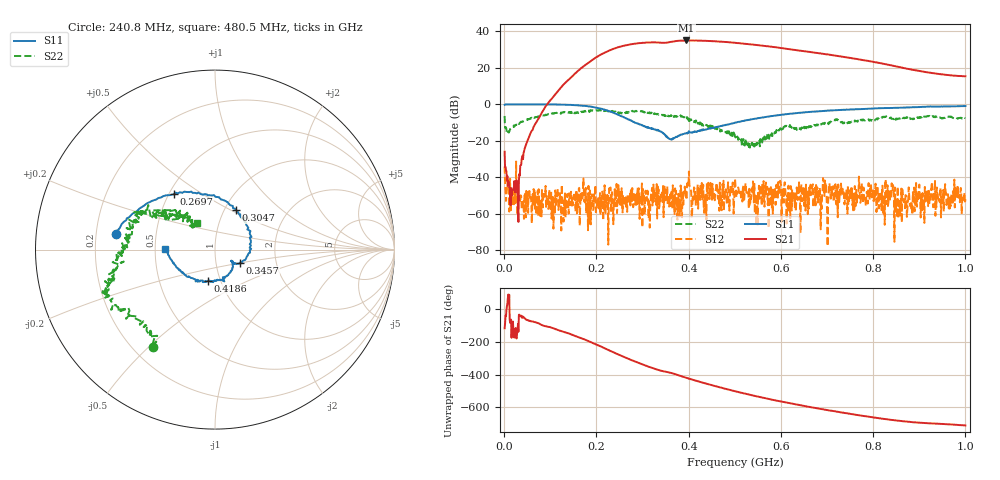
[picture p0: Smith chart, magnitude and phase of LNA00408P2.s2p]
! Created with skrf 1.9.0 (http://scikit-rf.org).
# Hz S RI R 50.0
!freq ReS11 ImS11 ReS21 ImS21 ReS12 ImS12 ReS22 ImS22
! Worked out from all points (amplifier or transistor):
!   1001 points, 1 MHz to 1 GHz, reference 50 ohm
!   highest |S21| = 35.0 dB at 394.6 MHz (marker M1)
!   |S21| within 3 dB of that: 257.5 MHz to 565.4 MHz (308 MHz wide, 74.8 % of centre)
!   unconditionally stable (mu >= 1): 298.7 MHz to 400.2 MHz; 401 MHz to 769.2 MHz; 769.3 MHz to end of sweep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
!   at 166.8 MHz: K = 1.65, MAG = 31.3 dB, |S12| = -52.3 dB
!   at 500.5 MHz: K = 1.15, MAG = 34.8 dB, |S12| = -40.6 dB
!   at 1 GHz: K = 5.60, MAG = 23.2 dB, |S12| = -51.9 dB
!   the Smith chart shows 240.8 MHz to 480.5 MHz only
!   S11 on the Smith chart (normalised r, x): 240.8 MHz: 0.28, +0.07; 269.7 MHz: 0.53, +0.38; 304.7 MHz: 1.13, +0.53; 345.7 MHz: 1.31, -0.19; 418.6 MHz: 0.87, -0.32; 480.5 MHz: 0.57, +0.01
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1000000  0.9743 0.00152  -0.0221 -0.0455  -0.0187 0.00683  0.3489 0.3338
1.08892e8  0.5333 -0.8401  -0.8145 -1.561  -0.000527 -0.00182  0.4198 -0.3788
1.67833e8  -0.2138 -0.9006  -10.04 -0.5245  0.00137 -0.00343  0.0275 -0.6324
2.08792e8  -0.6459 -0.4198  -15.7 16.52  -0.000726 0.00058  -0.2369 -0.6486
2.4076e8  -0.5542 0.0879  -1.399 34.58  0.00158 -0.00206  -0.3453 -0.5426
2.69731e8  -0.2302 0.3081  23.74 35.83  -0.00128 -0.00239  -0.5006 -0.334
3.04696e8  0.1172 0.221  46.8 14.51  -0.000945 0.00019  -0.5764 -0.178
3.34666e8  0.1955 -0.0167  48.35 -10.32  -0.000493 0.00471  -0.5179 -0.0346
3.45655e8  0.1391 -0.072  45.76 -16.57  -0.000802 -0.000143  -0.5174 0.0356
3.7063e8  0.0992 -0.0741  43.18 -32.72  0.000473 0.00498  -0.4492 0.1782
3.94606e8  0.0613 -0.1497  28.75 -48.54  0.000328 0.00301  -0.4044 0.2029
4.18582e8  -0.038 -0.1747  9.818 -54.9  -0.00116 -0.00232  -0.2801 0.2186
4.46554e8  -0.1747 -0.132  -11.48 -53.29  0.00521 0.00288  -0.2015 0.2047
4.8052e8  -0.2768 0.00416  -31.34 -40.73  0.00327 0.00344  -0.1006 0.1457
5.005e8  -0.2965 0.1157  -38.65 -29.95  0.00641 0.00682  -0.0801 0.108
5.4046e8  -0.2313 0.3246  -42.45 -8.145  0.00456 -0.0023  -0.0861 0.0105
5.88412e8  -0.0425 0.4919  -34.71 11.9  -0.00114 -0.00137  -0.1595 -0.0691
6.25375e8  0.1276 0.5488  -24.29 20.01  0.0014 -0.00163  -0.2068 -0.0954
6.67333e8  0.3263 0.5385  -12.58 23.47  0.000322 -0.00543  -0.2593 -0.0288
7.53247e8  0.6223 0.3766  4.172 17.97  -0.00159 0.00266  -0.3312 0.0681
8.34166e8  0.7815 0.1576  8.775 8.351  0.00367 -0.00213  -0.4186 0.133
1e9  0.8207 -0.37  5.847 0.7511  -0.000963 -0.00235  -0.1447 0.3953
